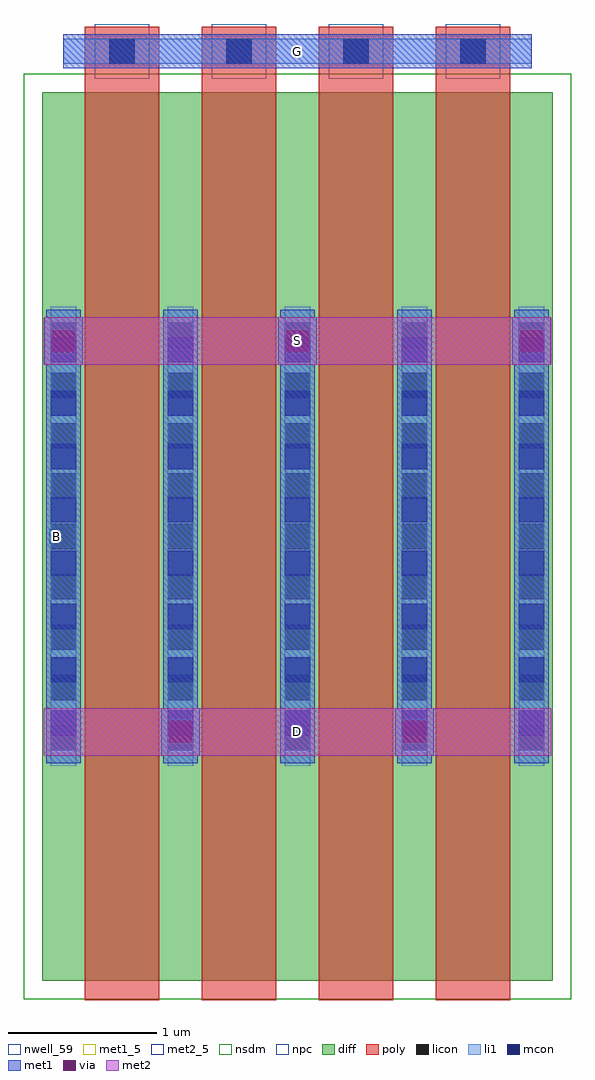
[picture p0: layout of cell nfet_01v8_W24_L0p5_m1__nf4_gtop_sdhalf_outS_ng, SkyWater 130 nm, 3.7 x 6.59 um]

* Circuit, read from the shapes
.subckt nfet_01v8_W24_L0p5_m1__nf4_gtop_sdhalf_outS_ng B D G S
XM1 D G S B sky130_fd_pr__nfet_01v8 w=6 l=0.5 m=4
.ends

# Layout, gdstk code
import gdstk
lib = gdstk.Library(unit=1e-6, precision=1e-09)
def R(c, l, rs):  # rectangles x0, y0, x1, y1
    for r in rs: c.add(gdstk.rectangle(r[:2], r[2:], *l))
def A(c, l, x, y, w, h, nx, ny, dx, dy):  # array of equal rectangles
    R(c, l, [(x+i*dx, y+j*dy, x+i*dx+w, y+j*dy+h) for i in range(nx) for j in range(ny)])
nwell_59 = (64, 59)
diff = (65, 20)
poly = (66, 20)
licon = (66, 44)
li1 = (67, 20)
mcon = (67, 44)
met1_5 = (68, 5)
met1 = (68, 20)
via = (68, 44)
met2_5 = (69, 5)
met2 = (69, 20)
nsdm = (93, 44)
npc = (95, 20)

sky130_fd_pr__nfet_01v8_ = lib.new_cell('sky130_fd_pr__nfet_01v8_BJU3HC')
R(sky130_fd_pr__nfet_01v8_, diff, [(-1.725,-3.155,1.725,2.845)])
A(sky130_fd_pr__nfet_01v8_, poly, -1.435, -3.285, 0.5, 6.57, 4, 1, 0.79, 0)
A(sky130_fd_pr__nfet_01v8_, licon, -1.665, -1.6, 0.17, 0.17, 5, 9, 0.79, 0.34)
A(sky130_fd_pr__nfet_01v8_, licon, -1.27, 3.035, 0.17, 0.17, 4, 1, 0.79, 0)
A(sky130_fd_pr__nfet_01v8_, li1, -1.665, -1.705, 0.17, 3.1, 5, 1, 0.79, 0)
R(sky130_fd_pr__nfet_01v8_, li1, [(-1.58,3.035,1.58,3.205)])
A(sky130_fd_pr__nfet_01v8_, mcon, -1.665, -1.5, 0.17, 0.17, 5, 8, 0.79, 0.36)
A(sky130_fd_pr__nfet_01v8_, mcon, -1.27, 3.035, 0.17, 0.17, 4, 1, 0.79, 0)
A(sky130_fd_pr__nfet_01v8_, met1, -1.695, -1.685, 0.23, 3.06, 5, 1, 0.79, 0)
A(sky130_fd_pr__nfet_01v8_, met1, -1.415, 3.005, 0.46, 0.03, 4, 2, 0.79, 0.2)
R(sky130_fd_pr__nfet_01v8_, met1, [(-1.58,3.035,1.58,3.205)])
R(sky130_fd_pr__nfet_01v8_, nsdm, [(-1.85,-3.28,1.85,2.97)])
A(sky130_fd_pr__nfet_01v8_, npc, -1.37, 2.935, 0.37, 0.37, 4, 1, 0.79, 0)
sky130_fd_pr__nfet_01v8_.add(gdstk.Label('D0', (-1.58,-0.155), layer=67, texttype=5))
sky130_fd_pr__nfet_01v8_.add(gdstk.Label('G', (1.185,3.12), layer=67, texttype=5))
sky130_fd_pr__nfet_01v8_.add(gdstk.Label('G', (0.395,3.12), layer=67, texttype=5))
sky130_fd_pr__nfet_01v8_.add(gdstk.Label('G', (-0.395,3.12), layer=67, texttype=5))
sky130_fd_pr__nfet_01v8_.add(gdstk.Label('G', (-1.185,3.12), layer=67, texttype=5))
sky130_fd_pr__nfet_01v8_.add(gdstk.Label('S1', (-0.79,-0.155), layer=67, texttype=5))
sky130_fd_pr__nfet_01v8_.add(gdstk.Label('D2', (0,-0.155), layer=67, texttype=5))
sky130_fd_pr__nfet_01v8_.add(gdstk.Label('S3', (0.79,-0.155), layer=67, texttype=5))

nfet_01v8_w24_l0p5_m1__n = lib.new_cell('nfet_01v8_W24_L0p5_m1__nf4_gtop_sdhalf_outS_ng')
R(nfet_01v8_w24_l0p5_m1__n, nwell_59, [(0.05,3.08,0.15,3.18)])
R(nfet_01v8_w24_l0p5_m1__n, met1_5, [(0.145,6.29,3.305,6.52)])
A(nfet_01v8_w24_l0p5_m1__n, met1, 0.015, 4.29, 0.26, 0.32, 3, 1, 1.58, 0)
R(nfet_01v8_w24_l0p5_m1__n, met1, [(0.805,1.65,1.065,1.97), (2.385,1.65,2.645,1.97), (0.145,6.29,3.305,6.52)])
A(nfet_01v8_w24_l0p5_m1__n, via, 0.07, 4.375, 0.15, 0.15, 3, 1, 1.58, 0)
R(nfet_01v8_w24_l0p5_m1__n, via, [(0.86,1.735,1.01,1.885), (2.44,1.735,2.59,1.885)])
R(nfet_01v8_w24_l0p5_m1__n, met2_5, [(0.01,1.65,3.44,1.97), (0.01,4.29,3.44,4.61)])
R(nfet_01v8_w24_l0p5_m1__n, met2, [(0.01,1.65,3.44,1.97), (0.01,4.29,3.44,4.61)])
nfet_01v8_w24_l0p5_m1__n.add(gdstk.Reference(sky130_fd_pr__nfet_01v8_, (1.725,3.285)))
nfet_01v8_w24_l0p5_m1__n.add(gdstk.Label('S', (1.725,4.45), layer=69, texttype=5))
nfet_01v8_w24_l0p5_m1__n.add(gdstk.Label('D', (1.725,1.81), layer=69, texttype=5))
nfet_01v8_w24_l0p5_m1__n.add(gdstk.Label('G', (1.725,6.405), layer=68, texttype=5))
nfet_01v8_w24_l0p5_m1__n.add(gdstk.Label('B', (0.1,3.13), layer=64, texttype=59))

lib.write_gds('nfet_01v8_W24_L0p5_m1__nf4_gtop_sdhalf_outS_ng.gds')
